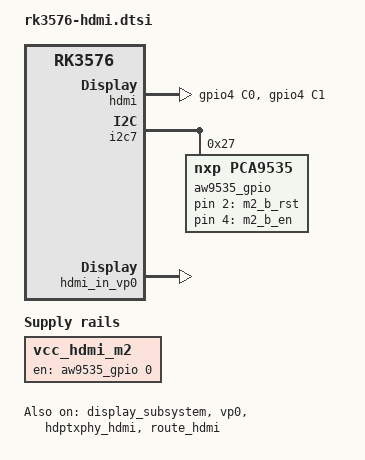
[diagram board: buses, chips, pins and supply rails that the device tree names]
// SPDX-License-Identifier: (GPL-2.0+ OR MIT)
#include <dt-bindings/gpio/gpio.h>
/*
 * RK3576 原生 HDMI 显示配置。
 *
 * 当板级 DTS/DTSI 默认显示输出使用 RK3576 HDMI TX 通路时，
 * include 本文件。
 */

&display_subsystem {
	status = "okay";
	clocks = <&hdptxphy_hdmi>;
	clock-names = "hdmi0_phy_pll";
	memory-region = <&drm_logo>, <&drm_cubic_lut>;
	memory-region-names = "drm-logo", "drm-cubic-lut";
	/* devfreq = <&dmc>; */
};

/ {
	vcc_hdmi_m2: vcc-hdmi-m2 {
		status = "okay";
		compatible = "regulator-fixed";
		regulator-name = "vcc_hdmi_m2";
		regulator-boot-on;
		regulator-always-on;
		/* AW9535 P00：HDMI&M.2_VDD_EN，高电平打开 HDMI/M.2 相关供电。 */
		gpio = <&aw9535_gpio 0 GPIO_ACTIVE_HIGH>;
		enable-active-high;
	};
};

&leds {
	/* GPIO0_B4 已作为 pcie0 reset-gpios 使用，禁用 EVB 默认心跳灯，避免 leds-gpio probe -EBUSY。 */
	work_led: work {
		status = "disabled";
	};

	m2_b_rst: m2-b-rst {
		gpios = <&aw9535_gpio 2 GPIO_ACTIVE_HIGH>;
		/* AW9535 P02：M.2-B_RST 默认低；brightness=1 输出高复位 M.2-B。 */
		default-state = "off";
	};

	m2_b_en: m2-b-en {
		gpios = <&aw9535_gpio 4 GPIO_ACTIVE_HIGH>;
		/* AW9535 P04：M.2-B_EN 默认高；brightness=0 关电后可触发 PCIe re-training。 */
		default-state = "on";
	};
};

&hdmi {
	status = "okay";
	pinctrl-names = "default";
	/*
	 * GPIO4_C0 原 SoC 默认 HDMI_CEC 复用，本板改作 HDMI/eDP 选择 GPIO；
	 * GPIO4_C1 单独保留 HDMI HPD 输入功能；
	 * HDMI_TX_SCL / HDMI_TX_SDA 已在 rk3576-pinctrl.dtsi 中独立定义，这里直接引用即可。
	 */
	pinctrl-0 = <&switch_he_gpio &hdmi_tx_hpdin_m0 &hdmi_tx_scl &hdmi_tx_sda>;
	/*
	 * HDMI_EDP_CTL / HDMI_DISP_SEL:
	 * GPIO4_C0 默认输出高选择 HDMI，输出低选择 eDP。
	 * 该引脚与 HDMI_CEC 复用，本板用于 HDMI/eDP 显示通道选择。
	 */
	switch-he-gpios = <&gpio4 RK_PC0 GPIO_ACTIVE_HIGH>;
	/* GPIO4_C0 已用于 HDMI/eDP 显示通道选择，不启用 HDMI CEC。 */
	/* HDMI/M.2 供电由 vcc_hdmi_m2 常开电源管理，不在 HDMI 驱动内重复占用。 */
	rockchip,sda-falling-delay-ns = <360>;
};

&i2c7 {
	status = "okay";
	pinctrl-names = "default";
	/* SMARC 底板 AW9535 使用 I2C7 M1 引脚组。 */
	pinctrl-0 = <&i2c7m1_xfer>;

	aw9535_gpio: gpio@27 {
		compatible = "nxp,pca9535";
		status = "okay";
		reg = <0x27>;
		gpio-controller;
		#gpio-cells = <2>;
		gpio-line-names =
			"HDMI_M2_VDD_EN",
			"DP_VDD_EN",
			"M2_B_RST",
			"HOST_WAKE_BT",
			"BT_WAKE_HOST",
			"WLAN_WAKE_HOST",
			"HOST_WAKE_WLAN",
			"CHIP_EN",
			"GPIO1",
			"GPIO2",
			"GPIO3",
			"GPIO4",
			"GPIO5",
			"GPIO6",
			"GPIO7",
			"GPIO8";
	};
};

&pinctrl {
	hdmi {
		switch_he_gpio: switch-he-gpio {
			rockchip,pins =
				/* HDMI_EDP_CTL / HDMI_DISP_SEL：高电平选择 HDMI，低电平选择 eDP */
				<4 RK_PC0 RK_FUNC_GPIO &pcfg_output_high>;
		};

		hdmi_tx_hpdin_m0: hdmi-tx-hpdin-m0 {
			rockchip,pins =
				/* HDMI 热插拔检测脚 HPD，保留 GPIO4_C1 的 HDMI HPD 复用功能 */
				<4 RK_PC1 9 &pcfg_pull_none>;
		};
	};
};

&vp0 {
	status = "okay";
};

&hdptxphy_hdmi {
	status = "okay";
};

&hdmi_in_vp0 {
	status = "okay";
};

&hdmi_in_vp1 {
	status = "disabled";
};

&hdmi_in_vp2 {
	status = "disabled";
};

&route_hdmi {
	status = "okay";
	logo,uboot = "quectel_720p.bmp";
	logo,kernel = "quectel_720p_kernel.bmp";
	connect = <&vp0_out_hdmi>;
};

&edp {
	status = "disabled";
};

&edp_in_vp0 {
	status = "disabled";
};

&edp_in_vp1 {
	status = "disabled";
};

&edp_in_vp2 {
	status = "disabled";
};

&route_edp {
	status = "disabled";
};

&hdptxphy {
	status = "disabled";
};
